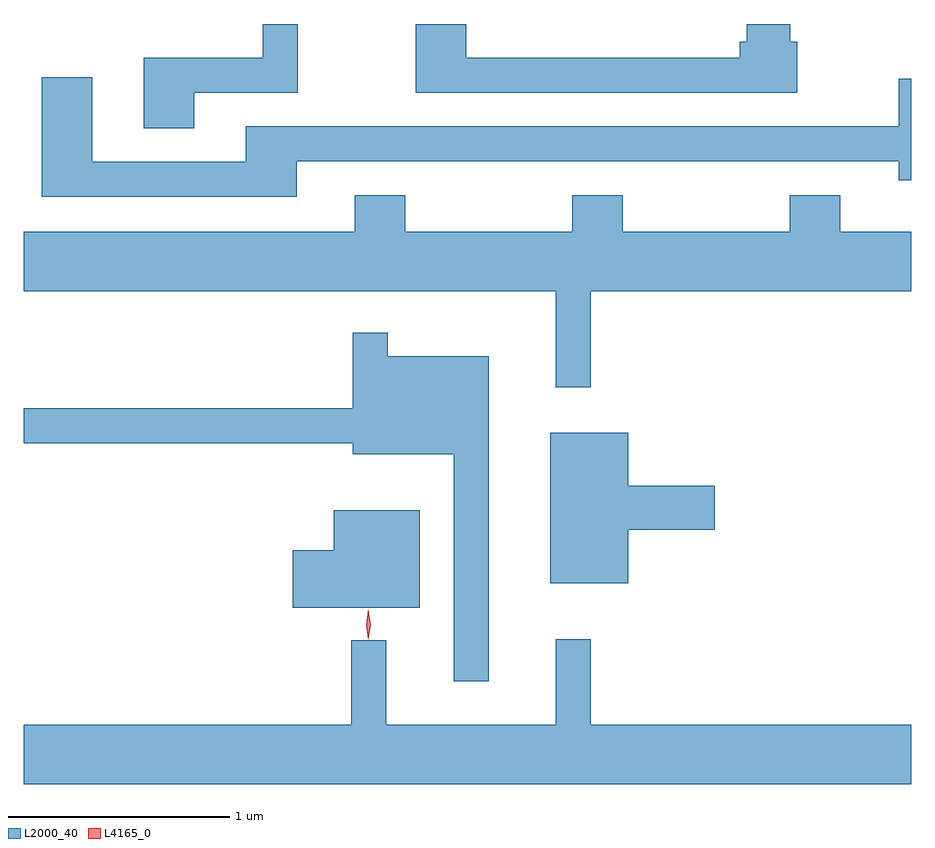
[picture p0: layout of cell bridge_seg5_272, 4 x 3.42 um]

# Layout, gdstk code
import gdstk
lib = gdstk.Library(unit=1e-6, precision=1e-09)
def P(c, l, *ps):  # polygons
    for p in ps: c.add(gdstk.Polygon(p, *l))
L2000_40 = (2000, 40)
L4165_0 = (4165, 0)

bridge_seg5_272 = lib.new_cell('bridge_seg5_272')
P(bridge_seg5_272, L2000_40, [(807.524,1520.079),(807.494,1520.079),(807.494,1520.16),(807.296,1520.16),(807.296,1520.079),(807.266,1520.079),(807.266,1520.009),(806.034,1520.009),(806.034,1520.16),(805.806,1520.16),(805.806,1519.851),(807.524,1519.851)],
  [(804.809,1519.851),(805.274,1519.851),(805.274,1520.16),(805.116,1520.16),(805.116,1520.009),(804.581,1520.009),(804.581,1519.691),(804.809,1519.691)],
  [(805.269,1519.541),(807.981,1519.541),(807.981,1519.456),(808.039,1519.456),(808.039,1519.914),(807.981,1519.914),(807.981,1519.699),(805.041,1519.699),(805.041,1519.539),(804.349,1519.539),(804.349,1519.919),(804.121,1519.919),(804.121,1519.381),(805.269,1519.381)],
  [(806.594,1518.956),(808.039,1518.956),(808.039,1519.224),(807.719,1519.224),(807.719,1519.389),(807.491,1519.389),(807.491,1519.224),(806.739,1519.224),(806.739,1519.389),(806.511,1519.389),(806.511,1519.224),(805.759,1519.224),(805.759,1519.389),(805.531,1519.389),(805.531,1519.224),(804.039,1519.224),(804.039,1518.956),(806.436,1518.956),(806.436,1518.523),(806.594,1518.523)],
  [(806.134,1518.664),(805.679,1518.664),(805.679,1518.768),(805.521,1518.768),(805.521,1518.429),(804.039,1518.429),(804.039,1518.271),(805.521,1518.271),(805.521,1518.221),(805.976,1518.221),(805.976,1517.198),(806.134,1517.198)],
  [(806.764,1517.881),(807.154,1517.881),(807.154,1518.079),(806.764,1518.079),(806.764,1518.319),(806.411,1518.319),(806.411,1517.641),(806.764,1517.641)],
  [(805.824,1517.969),(805.436,1517.969),(805.436,1517.789),(805.251,1517.789),(805.251,1517.531),(805.824,1517.531)],
  [(808.039,1517.004),(806.594,1517.004),(806.594,1517.388),(806.436,1517.388),(806.436,1517.004),(805.674,1517.004),(805.674,1517.383),(805.516,1517.383),(805.516,1517.004),(804.039,1517.004),(804.039,1516.736),(808.039,1516.736)])
P(bridge_seg5_272, L4165_0, [(805.592,1517.388),(805.591,1517.389),(805.582,1517.454),(805.591,1517.52),(805.592,1517.52),(805.592,1517.52),(805.602,1517.454),(805.592,1517.389)])

lib.write_gds('bridge_seg5_272.gds')
